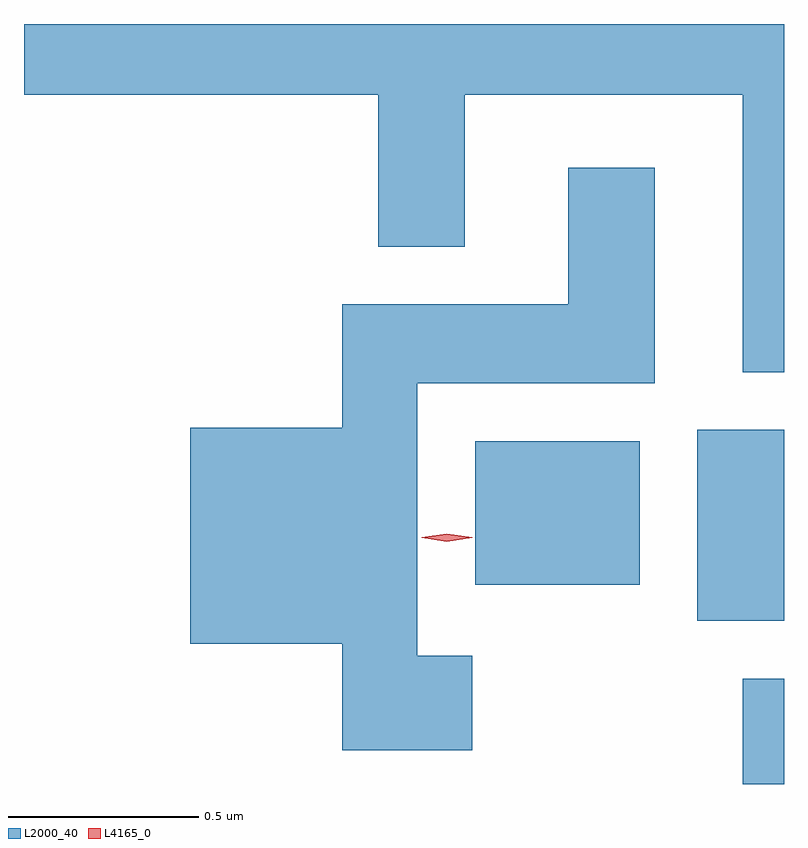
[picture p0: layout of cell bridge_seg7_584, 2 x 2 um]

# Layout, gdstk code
import gdstk
lib = gdstk.Library(unit=1e-6, precision=1e-09)
def R(c, l, rs):  # rectangles x0, y0, x1, y1
    for r in rs: c.add(gdstk.rectangle(r[:2], r[2:], *l))
def P(c, l, *ps):  # polygons
    for p in ps: c.add(gdstk.Polygon(p, *l))
L2000_40 = (2000, 40)
L4165_0 = (4165, 0)

bridge_seg7_584 = lib.new_cell('bridge_seg7_584')
R(bridge_seg7_584, L2000_40, [(966.341,1765.782,966.449,1766.059), (966.221,1766.211,966.449,1766.714), (965.636,1766.306,966.069,1766.684)])
P(bridge_seg7_584, L2000_40, [(966.449,1767.782),(964.449,1767.782),(964.449,1767.596),(965.381,1767.596),(965.381,1767.196),(965.609,1767.196),(965.609,1767.596),(966.341,1767.596),(966.341,1766.866),(966.449,1766.866)],
  [(965.629,1766.119),(965.484,1766.119),(965.484,1766.836),(966.109,1766.836),(966.109,1767.404),(965.881,1767.404),(965.881,1767.044),(965.286,1767.044),(965.286,1766.719),(964.886,1766.719),(964.886,1766.151),(965.286,1766.151),(965.286,1765.871),(965.629,1765.871)])
P(bridge_seg7_584, L4165_0, [(965.562,1766.42),(965.496,1766.43),(965.496,1766.43),(965.496,1766.431),(965.562,1766.44),(965.629,1766.431),(965.629,1766.43),(965.629,1766.43)])

lib.write_gds('bridge_seg7_584.gds')
